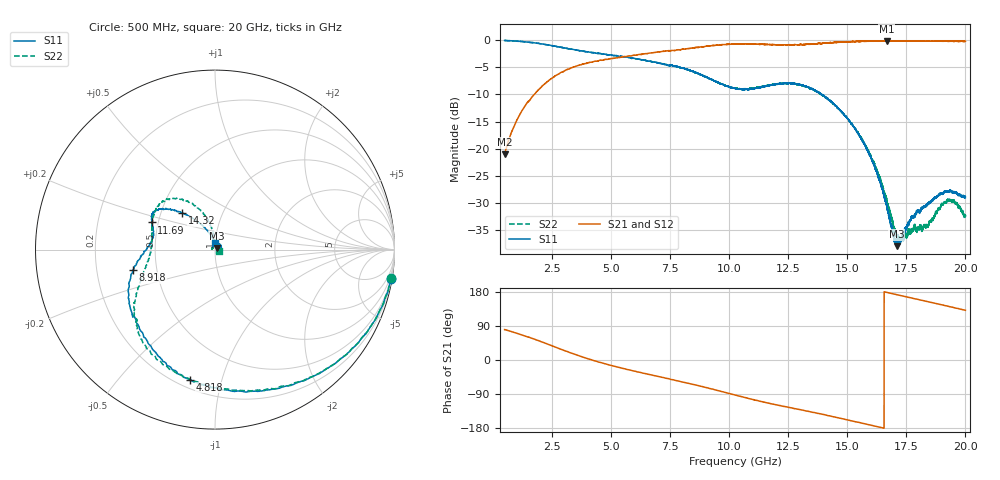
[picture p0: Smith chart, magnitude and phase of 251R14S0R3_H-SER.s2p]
! Created Tue May  5 12:33:30 2020
# mhz S ma R 50
! 2 Port Network Data from SP1.SP block
! freq  magS11  angS11  magS21  angS21  magS12  angS12  magS22  angS22
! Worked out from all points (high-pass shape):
!   19501 points, 500 MHz to 20 GHz, reference 50 ohm
!   highest |S21| = -0.11 dB at 16.67 GHz (marker M1); lowest = -21.0 dB at 500 MHz (marker M2)
!   |S21| within 3 dB of the highest: 5.45825 GHz to 5.464429 GHz (6.179 MHz wide, 0.113 % of centre); 5.465 GHz to end of sweep (the widest 2 of 4)
!   lowest |S11| = -38.0 dB at 17.09 GHz (marker M3), VSWR 1.03, Z = 51.1 + j0.658 ohm
!   |S11| at or under -10 dB: 13.9118 GHz to 13.9137 GHz (1.9 MHz wide, 0.0137 % of centre); 13.91527 GHz to 13.91744 GHz (2.172 MHz wide, 0.0156 % of centre); 13.92 GHz to end of sweep
!   |S22| runs from -37.4 to 0.0 dB; largest |S21 - S12| = 0.0078
!   S11 on the Smith chart (normalised r, x): 500 MHz: 0, -12; 4.818 GHz: 0.25, -0.80; 8.918 GHz: 0.37, -0.11; 11.69 GHz: 0.46, +0.16; 14.32 GHz: 0.65, +0.28; 20 GHz: 0.99, +0.07
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500  0.9953 -9.3  0.0888 80.4  0.08871 80.3  0.9952 -9.2
1069  0.9784 -20.4  0.1922 69.5  0.1919 69.4  0.978 -20.3
1780  0.9443 -35.3  0.3199 54.6  0.3206 54.7  0.9433 -35.1
2783  0.869 -59.4  0.4872 30.8  0.488 30.9  0.8674 -58.6
3750  0.7975 -81.9  0.5962 8.9  0.5973 8.9  0.7977 -80.0
4818  0.738 -100.8  0.6665 -11.0  0.6657 -11.0  0.7376 -100.7
5958  0.6818 -115.6  0.7282 -28.9  0.7261 -28.8  0.6818 -121.5
7000  0.6136 -131.3  0.7801 -43.4  0.7771 -43.5  0.62 -134.5
8918  0.4702 -166.0  0.8713 -71.0  0.8719 -71.1  0.4671 -154.5
10250  0.3602 173.8  0.9218 -92.3  0.9223 -92.3  0.3595 -177.2
11685  0.384 156.8  0.9135 -114.0  0.9139 -114.0  0.3829 155.0
13500  0.3577 140.2  0.9235 -137.5  0.922 -137.6  0.3556 126.4
14324  0.2714 131.8  0.948 -148.4  0.949 -148.3  0.2678 114.4
15695  0.1123 111.2  0.9775 -167.7  0.9768 -167.7  0.1147 98.6
16207  0.06345 102.0  0.981 -175.0  0.9823 -174.9  0.06711 94.8
16666  0.03022 84.7  0.9871 178.6  0.9839 178.6  0.03387 98.4
16750  0.02515 79.2  0.9825 177.3  0.983 177.4  0.02914 102.2
17090  0.01257 30.8  0.9831 172.6  0.9822 172.5  0.01546 129.0
17308  0.01528 -4.6  0.984 169.4  0.9846 169.5  0.0145 152.5
18366  0.03003 -5.0  0.984 154.5  0.9827 154.7  0.01976 128.0
19304  0.03973 38.4  0.9768 141.2  0.9798 141.2  0.03325 55.8
20000  0.03529 94.3  0.9777 131.2  0.9767 131.3  0.0236 -14.6
